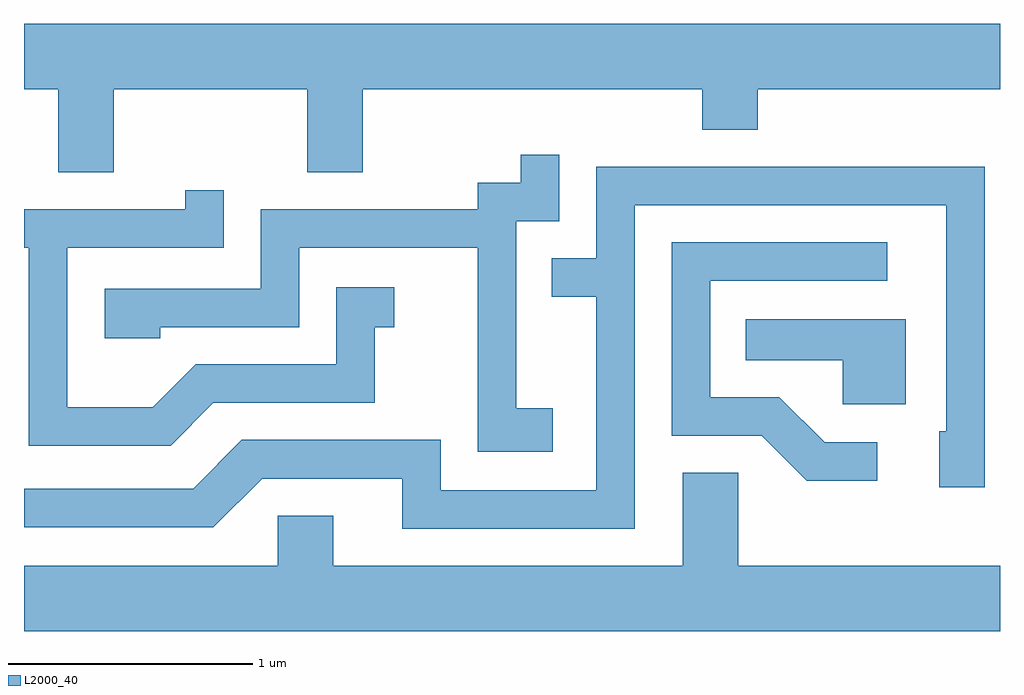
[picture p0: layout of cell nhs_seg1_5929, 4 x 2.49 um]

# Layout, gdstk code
import gdstk
lib = gdstk.Library(unit=1e-6, precision=1e-09)
def P(c, l, *ps):  # polygons
    for p in ps: c.add(gdstk.Polygon(p, *l))
L2000_40 = (2000, 40)

nhs_seg1_5929 = lib.new_cell('nhs_seg1_5929')
P(nhs_seg1_5929, L2000_40, [(363.979,923.996),(364.771,923.996),(364.771,923.656),(364.999,923.656),(364.999,923.996),(366.391,923.996),(366.391,923.831),(366.619,923.831),(366.619,923.996),(367.611,923.996),(367.611,924.264),(363.611,924.264),(363.611,923.996),(363.751,923.996),(363.751,923.656),(363.979,923.656)],
  [(365.779,922.689),(365.629,922.689),(365.629,923.456),(365.804,923.456),(365.804,923.728),(365.646,923.728),(365.646,923.614),(365.471,923.614),(365.471,923.504),(364.581,923.504),(364.581,923.179),(363.941,923.179),(363.941,922.976),(364.169,922.976),(364.169,923.021),(364.739,923.021),(364.739,923.346),(365.471,923.346),(365.471,922.511),(365.779,922.511)],
  [(366.114,923.521),(367.391,923.521),(367.391,922.594),(367.361,922.594),(367.361,922.366),(367.549,922.366),(367.549,923.679),(365.956,923.679),(365.956,923.304),(365.773,923.304),(365.773,923.146),(365.956,923.146),(365.956,922.354),(365.319,922.354),(365.319,922.559),(364.504,922.559),(364.304,922.359),(363.611,922.359),(363.611,922.201),(364.387,922.201),(364.587,922.401),(365.161,922.401),(365.161,922.196),(366.114,922.196)],
  [(364.387,922.711),(365.049,922.711),(365.049,923.021),(365.128,923.021),(365.128,923.184),(364.891,923.184),(364.891,922.869),(364.314,922.869),(364.139,922.694),(363.789,922.694),(363.789,923.346),(364.429,923.346),(364.429,923.583),(364.271,923.583),(364.271,923.504),(363.611,923.504),(363.611,923.346),(363.631,923.346),(363.631,922.536),(364.212,922.536)],
  [(367.108,922.549),(366.892,922.549),(366.707,922.734),(366.424,922.734),(366.424,923.211),(367.148,923.211),(367.148,923.369),(366.266,923.369),(366.266,922.576),(366.634,922.576),(366.819,922.391),(367.108,922.391)],
  [(367.224,923.054),(366.568,923.054),(366.568,922.886),(366.966,922.886),(366.966,922.706),(367.224,922.706)],
  [(367.611,922.044),(366.539,922.044),(366.539,922.424),(366.311,922.424),(366.311,922.044),(364.879,922.044),(364.879,922.249),(364.651,922.249),(364.651,922.044),(363.611,922.044),(363.611,921.776),(367.611,921.776)])

lib.write_gds('nhs_seg1_5929.gds')
